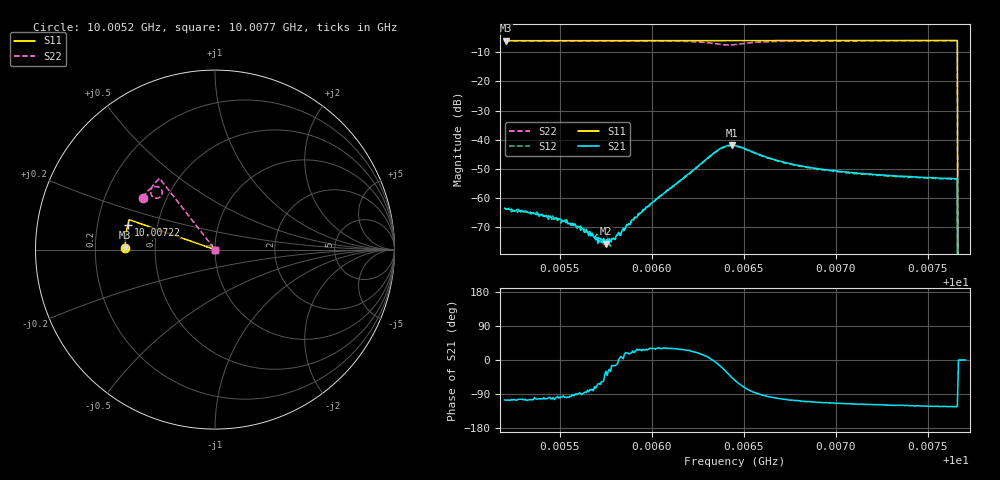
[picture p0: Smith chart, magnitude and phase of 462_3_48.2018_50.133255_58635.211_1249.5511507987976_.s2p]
#  HZ  S  RI  R  50.00
! Rohde & Schwarz Vector Network Analyzer
! Rohde-Schwarz,ZNB20-2Port,1311601062101988,3.16
! Created: UTC 3/20/2024, 11:56:48 AM
! freq[Hz]  re:S11  im:S11  re:S21  im:S21  re:S12  im:S12  re:S22  im:S22
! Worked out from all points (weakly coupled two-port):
!   401 points, 10.0052 GHz to 10.0077 GHz, reference 50 ohm
!   highest |S21| = -41.90 dB at 10.00643 GHz (marker M1); lowest = -75.7 dB at 10.00575 GHz (marker M2)
!   lowest |S11| = -6.0 dB at 10.00521 GHz (marker M3), VSWR 3.01, Z = 16.6 + j0.446 ohm
!   |S11| at or under -10 dB: 10.00766 GHz to end of sweep
!   |S22| runs from - to -6.0 dB; largest |S21 - S12| = 0.00051
!   S11 on the Smith chart (normalised r, x): 10.0052 GHz: 0.33, +0.01; 10.00722 GHz: 0.33, +0.13; 10.0077 GHz: 1.00, +0.00
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1.0005199e10  -0.5007 0.00975  -0.000177 -0.000644  -0.000126 -0.000632  -0.4023 0.2891
1.0005205e10  -0.5006 0.01  -0.000177 -0.00062  -0.000109 -0.000649  -0.402 0.2893
1.0005343e10  -0.5007 0.0192  -0.000141 -0.000509  -6.92e-05 -0.000552  -0.3966 0.2976
1.0005487e10  -0.5007 0.0285  -4.64e-05 -0.000429  -4.47e-05 -0.000407  -0.3905 0.306
1.0005619e10  -0.5002 0.0372  -8.71e-06 -0.000305  4.9e-05 -0.000286  -0.3845 0.314
1.0005694e10  -0.5001 0.042  5.15e-05 -0.000184  6.06e-05 -0.000211  -0.3807 0.3186
1.0005725e10  -0.4999 0.0441  9.49e-05 -0.000149  0.000124 -0.000155  -0.3792 0.3205
1.000575e10  -0.4998 0.0457  0.000142 -8.1e-05  9.07e-05 -0.000128  -0.3777 0.322
1.0005781e10  -0.4997 0.0477  0.000188 -4.77e-05  0.000217 -3.84e-05  -0.376 0.324
1.0005838e10  -0.4994 0.0514  0.000277 2.75e-05  0.000255 3.27e-05  -0.3728 0.3275
1.0005938e10  -0.499 0.0578  0.000486 0.000245  0.000488 0.000268  -0.3662 0.3342
1.0006038e10  -0.4984 0.0643  0.000884 0.000556  0.000855 0.000542  -0.3577 0.3409
1.0006351e10  -0.4954 0.0845  0.00634 -0.000866  0.00625 -0.000545  -0.2965 0.3307
1.0006433e10  -0.4946 0.0892  0.00564 -0.00572  0.00587 -0.00527  -0.31 0.2905
1.0006452e10  -0.4945 0.0903  0.00465 -0.00642  0.0049 -0.00599  -0.32 0.2868
1.0006646e10  -0.4931 0.1026  -0.000659 -0.0047  -0.000408 -0.00468  -0.3585 0.324
1.0006871e10  -0.4904 0.1171  -0.00114 -0.00307  -0.000955 -0.00306  -0.3493 0.3508
1.0007222e10  -0.4853 0.1392  -0.00116 -0.0022  -0.00104 -0.00222  -0.3312 0.3743
1.0007291e10  -0.4843 0.1435  -0.00119 -0.00213  -0.00105 -0.00213  -0.3277 0.3781
1.0007648e10  -0.478 0.1658  -0.00115 -0.00178  -0.00107 -0.00183  -0.3094 0.396
1.0007679e10  0 0  0 0  0 0  0 0
1.0007704e10  0 0  0 0  0 0  0 0
